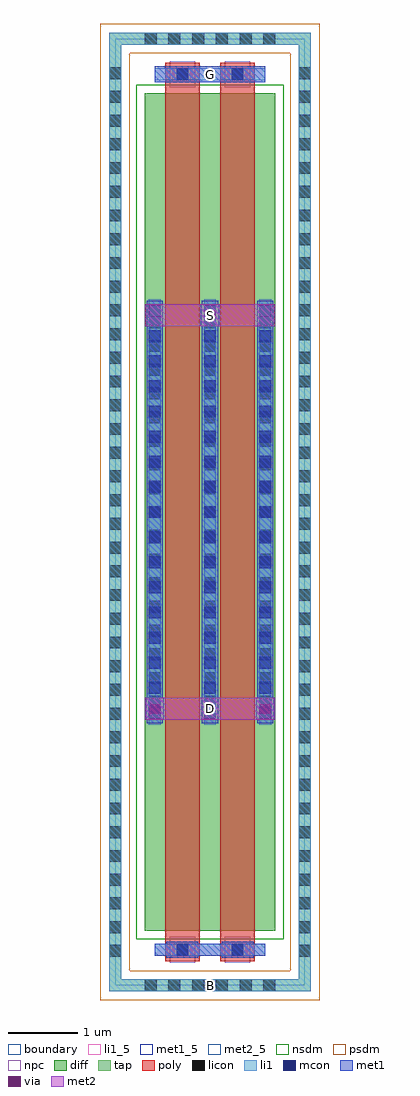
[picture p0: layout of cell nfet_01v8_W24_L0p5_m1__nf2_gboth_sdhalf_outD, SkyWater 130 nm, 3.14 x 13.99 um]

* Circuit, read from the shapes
.subckt nfet_01v8_W24_L0p5_m1__nf2_gboth_sdhalf_outD B D G S
XM1 S G D B sky130_fd_pr__nfet_01v8 w=12 l=0.5 m=2
.ends

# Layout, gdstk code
import gdstk
lib = gdstk.Library(unit=1e-6, precision=1e-09)
def R(c, l, rs):  # rectangles x0, y0, x1, y1
    for r in rs: c.add(gdstk.rectangle(r[:2], r[2:], *l))
def A(c, l, x, y, w, h, nx, ny, dx, dy):  # array of equal rectangles
    R(c, l, [(x+i*dx, y+j*dy, x+i*dx+w, y+j*dy+h) for i in range(nx) for j in range(ny)])
diff = (65, 20)
tap = (65, 44)
poly = (66, 20)
licon = (66, 44)
li1_5 = (67, 5)
li1 = (67, 20)
mcon = (67, 44)
met1_5 = (68, 5)
met1 = (68, 20)
via = (68, 44)
met2_5 = (69, 5)
met2 = (69, 20)
nsdm = (93, 44)
psdm = (94, 20)
npc = (95, 20)
boundary = (235, 4)

sky130_fd_pr__nfet_01v8_ = lib.new_cell('sky130_fd_pr__nfet_01v8_P68KAC')
R(sky130_fd_pr__nfet_01v8_, diff, [(-0.935,-6,0.935,6)])
R(sky130_fd_pr__nfet_01v8_, tap, [(-1.445,-6.87,1.445,-6.7), (-1.445,-6.7,-1.275,6.7), (1.275,-6.7,1.445,6.7), (-1.445,6.7,1.445,6.87)])
R(sky130_fd_pr__nfet_01v8_, poly, [(-0.645,-6.44,-0.145,6.44), (0.145,-6.44,0.645,6.44)])
A(sky130_fd_pr__nfet_01v8_, licon, -0.935, -6.87, 0.17, 0.17, 6, 2, 0.34, 13.57)
A(sky130_fd_pr__nfet_01v8_, licon, -1.445, -6.375, 0.17, 0.17, 1, 38, 0, 0.34)
A(sky130_fd_pr__nfet_01v8_, licon, 1.275, -6.375, 0.17, 0.17, 1, 38, 0, 0.34)
A(sky130_fd_pr__nfet_01v8_, licon, -0.875, -2.805, 0.17, 0.17, 3, 17, 0.79, 0.34)
R(sky130_fd_pr__nfet_01v8_, licon, [(-0.48,-6.36,-0.31,-6.19), (0.31,-6.36,0.48,-6.19), (-0.48,6.19,-0.31,6.36), (0.31,6.19,0.48,6.36)])
A(sky130_fd_pr__nfet_01v8_, li1, -0.875, -3.05, 0.17, 6.1, 3, 1, 0.79, 0)
R(sky130_fd_pr__nfet_01v8_, li1, [(-1.445,-6.87,1.445,-6.7), (-1.445,-6.7,-1.275,6.7), (1.275,-6.7,1.445,6.7), (-0.79,-6.36,0.79,-6.19), (-0.79,6.19,0.79,6.36), (-1.445,6.7,1.445,6.87)])
A(sky130_fd_pr__nfet_01v8_, mcon, -0.875, -2.965, 0.17, 0.17, 3, 17, 0.79, 0.36)
R(sky130_fd_pr__nfet_01v8_, mcon, [(-0.48,-6.36,-0.31,-6.19), (0.31,-6.36,0.48,-6.19), (-0.48,6.19,-0.31,6.36), (0.31,6.19,0.48,6.36)])
A(sky130_fd_pr__nfet_01v8_, met1, -0.905, -3.03, 0.23, 6.06, 3, 1, 0.79, 0)
R(sky130_fd_pr__nfet_01v8_, met1, [(-0.625,-6.39,-0.165,-6.36), (0.165,-6.39,0.625,-6.36), (-0.79,-6.36,0.79,-6.19), (-0.625,-6.19,-0.165,-6.16), (0.165,-6.19,0.625,-6.16), (-0.625,6.16,-0.165,6.19), (0.165,6.16,0.625,6.19), (-0.79,6.19,0.79,6.36), (-0.625,6.36,-0.165,6.39), (0.165,6.36,0.625,6.39)])
R(sky130_fd_pr__nfet_01v8_, nsdm, [(-1.06,-6.125,1.06,6.125)])
R(sky130_fd_pr__nfet_01v8_, psdm, [(-1.57,-6.995,1.57,-6.575), (-1.57,-6.575,-1.15,6.575), (1.15,-6.575,1.57,6.575), (-1.57,6.575,1.57,6.995)])
R(sky130_fd_pr__nfet_01v8_, npc, [(-0.58,-6.46,-0.21,-6.09), (0.21,-6.46,0.58,-6.09), (-0.58,6.09,-0.21,6.46), (0.21,6.09,0.58,6.46)])
R(sky130_fd_pr__nfet_01v8_, boundary, [(-1.36,-6.785,1.36,6.785)])
sky130_fd_pr__nfet_01v8_.add(gdstk.Label('B', (0,-6.785), layer=67, texttype=5))
sky130_fd_pr__nfet_01v8_.add(gdstk.Label('D0', (-0.79,0), layer=67, texttype=5))
sky130_fd_pr__nfet_01v8_.add(gdstk.Label('G', (0.395,6.275), layer=67, texttype=5))
sky130_fd_pr__nfet_01v8_.add(gdstk.Label('G', (-0.395,6.275), layer=67, texttype=5))
sky130_fd_pr__nfet_01v8_.add(gdstk.Label('S1', (0,0), layer=67, texttype=5))

nfet_01v8_w24_l0p5_m1__n = lib.new_cell('nfet_01v8_W24_L0p5_m1__nf2_gboth_sdhalf_outD')
R(nfet_01v8_w24_l0p5_m1__n, li1_5, [(1.275,-0.085,1.445,0.085)])
R(nfet_01v8_w24_l0p5_m1__n, li1, [(1.275,-0.085,1.445,0.085)])
R(nfet_01v8_w24_l0p5_m1__n, met1_5, [(0.57,12.945,2.15,13.175)])
R(nfet_01v8_w24_l0p5_m1__n, met1, [(0.44,3.805,0.7,4.125), (2.02,3.805,2.28,4.125), (1.23,9.445,1.49,9.765), (0.57,12.945,2.15,13.175)])
R(nfet_01v8_w24_l0p5_m1__n, via, [(0.495,3.89,0.645,4.04), (2.075,3.89,2.225,4.04), (1.285,9.53,1.435,9.68)])
R(nfet_01v8_w24_l0p5_m1__n, met2_5, [(0.435,3.805,2.285,4.125), (0.435,9.445,2.285,9.765)])
R(nfet_01v8_w24_l0p5_m1__n, met2, [(0.435,3.805,2.285,4.125), (0.435,9.445,2.285,9.765)])
nfet_01v8_w24_l0p5_m1__n.add(gdstk.Reference(sky130_fd_pr__nfet_01v8_, (1.36,6.785)))
nfet_01v8_w24_l0p5_m1__n.add(gdstk.Label('S', (1.36,9.605), layer=69, texttype=5))
nfet_01v8_w24_l0p5_m1__n.add(gdstk.Label('D', (1.36,3.965), layer=69, texttype=5))
nfet_01v8_w24_l0p5_m1__n.add(gdstk.Label('G', (1.36,13.06), layer=68, texttype=5))
nfet_01v8_w24_l0p5_m1__n.add(gdstk.Label('B', (1.36,0), layer=67, texttype=5))

lib.write_gds('nfet_01v8_W24_L0p5_m1__nf2_gboth_sdhalf_outD.gds')
